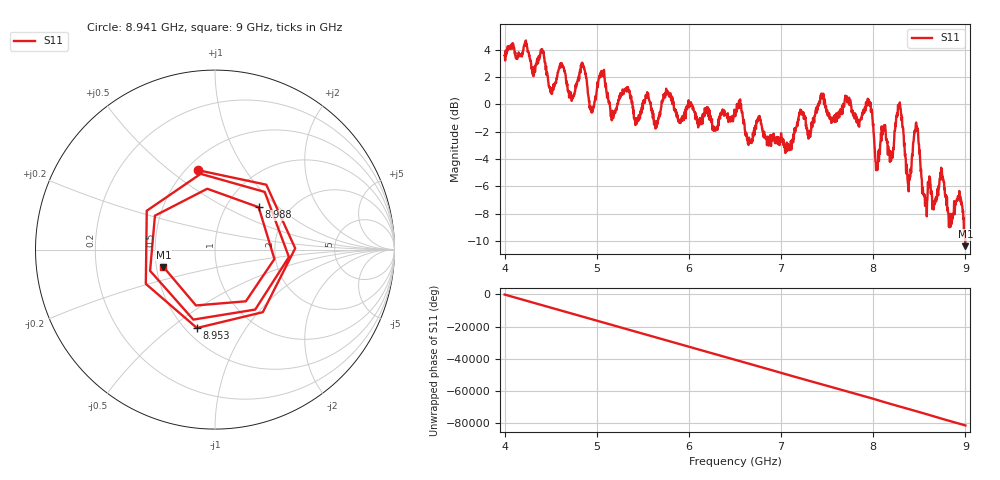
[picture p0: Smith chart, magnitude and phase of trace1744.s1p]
! Created with skrf 1.8.0 (http://scikit-rf.org).
# Hz S RI R 50.0
!freq ReS11 ImS11
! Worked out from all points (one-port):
!   1601 points, 4 GHz to 9 GHz, reference 50 ohm
!   lowest |S11| = -10.4 dB at 9 GHz (marker M1), VSWR 1.87, Z = 27.2 - j5.79 ohm
!   |S11| at or under -10 dB: 8.998443 GHz to end of sweep
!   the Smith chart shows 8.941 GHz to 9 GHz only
!   S11 on the Smith chart (normalised r, x): 8.941 GHz: 0.57, +0.63; 8.953 GHz: 0.57, -0.62; 8.988 GHz: 1.41, +0.75; 9 GHz: 0.54, -0.12
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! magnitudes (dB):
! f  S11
! 4 GHz  3.6
! 4.406 GHz  4.0
! 4.503 GHz  0.8
! 4.625 GHz  2.9
! 4.731 GHz  0.4
! 4.853 GHz  2.9
! 4.947 GHz  -0.3
! 5.056 GHz  2.1
! 5.169 GHz  -0.5
! 5.25 GHz  0.4
! 5.875 GHz  -0.8
! 6.5 GHz  -0.6
! 7.125 GHz  -2.7
! 7.438 GHz  0.8
! 7.75 GHz  0.3
! 7.959 GHz  0.2
! 8.047 GHz  -4.5
! 8.109 GHz  -1.6
! 8.2 GHz  -3.9
! 8.288 GHz  0.1
! 8.375 GHz  -5.6
! 8.466 GHz  -1.3
! 8.562 GHz  -7.4
! 8.744 GHz  -4.7
! 8.941 GHz  -6.9
! 8.953 GHz  -7.0
! 8.988 GHz  -9.4
! 9 GHz  -10.4
